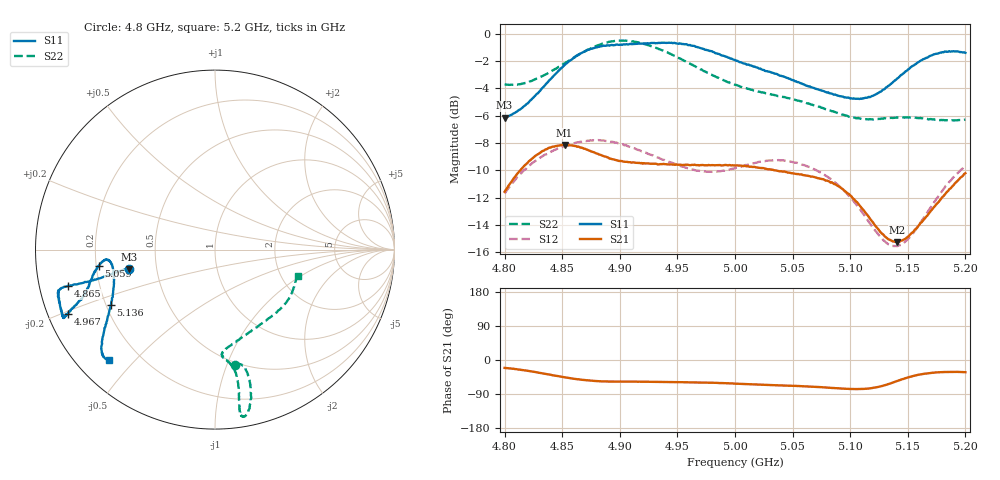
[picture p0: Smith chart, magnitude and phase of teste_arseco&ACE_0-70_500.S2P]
! Network Analyzer HP8722D
! Hewlett-Packard
! Data name: Linha & Wilkinson
! Saver's name: Rodrigo Anjos
! Comments: Teste da utilização de aquisição
! continua pelo VNA HP8722D
! Time and date: 8/5/2025 16:55
!  Frequency  S11  S21  S12  S22
# HZ  S  MA R 50
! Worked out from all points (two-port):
!   401 points, 4.8 GHz to 5.2 GHz, reference 50 ohm
!   highest |S21| = -8.13 dB at 4.852 GHz (marker M1); lowest = -15.2 dB at 5.141 GHz (marker M2)
!   |S21| within 3 dB of the highest: 4.803 GHz to 5.089 GHz (285.9 MHz wide, 5.78 % of centre); 5.18911 GHz to end of sweep
!   lowest |S11| = -6.1 dB at 4.8 GHz (marker M3), VSWR 2.95, Z = 17.2 - j4.93 ohm
!   |S11| at or under -10 dB: nowhere
!   |S22| runs from -6.3 to -0.5 dB; largest |S21 - S12| = 0.62
!   S11 on the Smith chart (normalised r, x): 4.8 GHz: 0.34, -0.10; 4.865 GHz: 0.09, -0.12; 4.967 GHz: 0.06, -0.21; 5.059 GHz: 0.21, -0.07; 5.136 GHz: 0.22, -0.24; 5.2 GHz: 0.09, -0.42
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4.8e9  0.4932 -167.3  0.2643 -20.9  0.2606 -142.1  0.6532 -80.1
4.826e9  0.5899 -166.7  0.3554 -31.6  0.3409 -146.2  0.6793 -75.9
4.852e9  0.7683 -165.9  0.3921 -45.6  0.3881 -150.9  0.7786 -75.3
4.865e9  0.8423 -166.2  0.3846 -51.4  0.4016 -152.9  0.8415 -76.2
4.867e9  0.8505 -166.0  0.3831 -52.2  0.4031 -153.2  0.8507 -76.3
4.898e9  0.9119 -163.3  0.3439 -56.9  0.3979 -157.1  0.9432 -79.9
4.914e9  0.9183 -160.1  0.3369 -57.1  0.3785 -157.6  0.9337 -81.1
4.934e9  0.9257 -156.8  0.3329 -57.9  0.3515 -156.1  0.8782 -81.1
4.967e9  0.8942 -156.5  0.3304 -59.3  0.3155 -148.3  0.7521 -80.2
5e9  0.8014 -159.5  0.3298 -62.4  0.3225 -137.8  0.6505 -81.7
5.034e9  0.7159 -165.7  0.3165 -66.5  0.3442 -135.2  0.5966 -86.2
5.059e9  0.6539 -172.2  0.304 -69.2  0.3311 -137.1  0.563 -84.6
5.067e9  0.6359 -173.4  0.3003 -70.2  0.3224 -138.1  0.5496 -82.6
5.082e9  0.6053 -174.6  0.2875 -73.0  0.2961 -139.4  0.5243 -76.8
5.099e9  0.5832 -172.0  0.2589 -76.4  0.2549 -139.6  0.4972 -67.1
5.116e9  0.587 -164.1  0.214 -75.3  0.2057 -134.9  0.4852 -54.7
5.134e9  0.6479 -153.0  0.1766 -62.8  0.1692 -118.2  0.4918 -42.8
5.136e9  0.6582 -151.8  0.1749 -60.6  0.1674 -115.7  0.4922 -41.5
5.141e9  0.6866 -149.4  0.1731 -55.1  0.167 -109.0  0.4937 -38.7
5.153e9  0.7566 -144.6  0.1856 -43.6  0.183 -94.4  0.4933 -32.6
5.172e9  0.8385 -139.0  0.2301 -33.5  0.2391 -81.1  0.4857 -24.4
5.2e9  0.8514 -133.8  0.3089 -32.2  0.3274 -77.8  0.4848 -17.9
